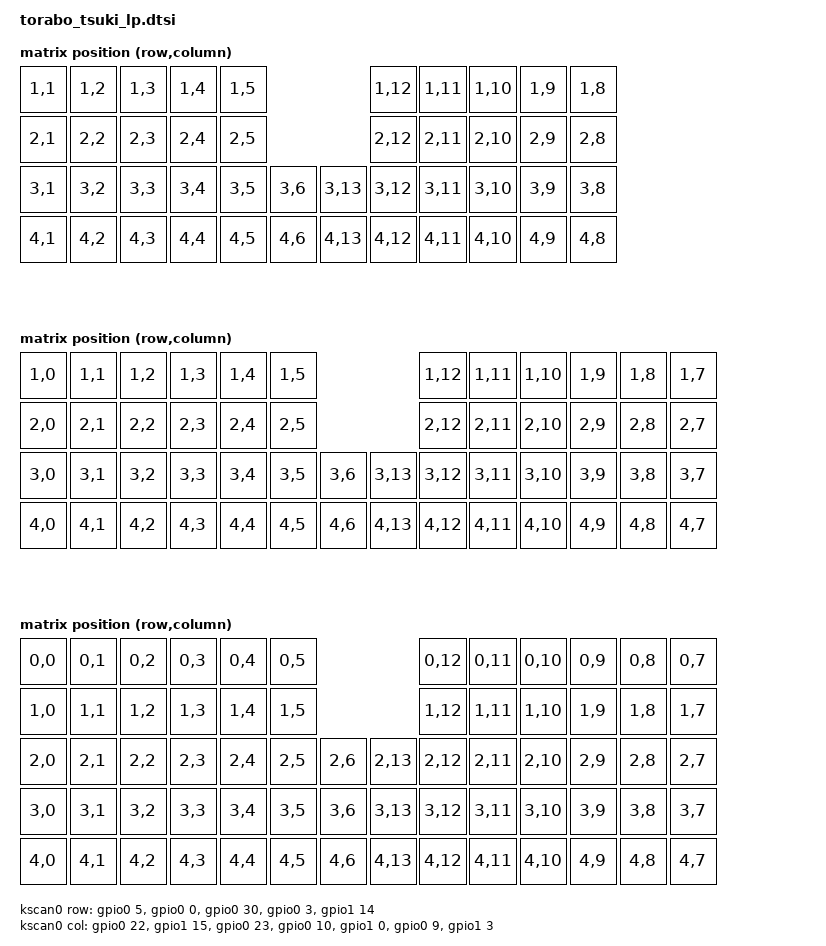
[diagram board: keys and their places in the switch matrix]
#include <zephyr/dt-bindings/gpio/nordic-nrf-gpio.h>
#include <input/processors.dtsi>
#include <dt-bindings/zmk/input_transform.h>
#include <dt-bindings/zmk/matrix_transform.h>
#include "torabo_tsuki_lp_layouts.dtsi"

/ {
    chosen {
        zmk,physical-layout = &physical_layout_l;
        zmk,kscan = &kscan0;
        zmk,battery = &non_lipo_battery;
    };

    size_s_transform: keymap_transform_0 {
        compatible = "zmk,matrix-transform";
        columns = <14>;
        rows = <4>;
        map = <
            RC(1,1) RC(1,2) RC(1,3) RC(1,4) RC(1,5)                  RC(1,12) RC(1,11) RC(1,10) RC(1,9) RC(1,8)
            RC(2,1) RC(2,2) RC(2,3) RC(2,4) RC(2,5)                  RC(2,12) RC(2,11) RC(2,10) RC(2,9) RC(2,8)
            RC(3,1) RC(3,2) RC(3,3) RC(3,4) RC(3,5) RC(3,6) RC(3,13) RC(3,12) RC(3,11) RC(3,10) RC(3,9) RC(3,8)
            RC(4,1) RC(4,2) RC(4,3) RC(4,4) RC(4,5) RC(4,6) RC(4,13) RC(4,12) RC(4,11) RC(4,10) RC(4,9) RC(4,8)
        >;
    };-- Application: /tmp/zmk-config/zmk/app
-- CMake version: 3.31.6
-- Found Python3: /usr/bin/python3 (found suitable version "3.12.3", minimum required is "3.8") found components: Interpreter
-- Cache files will be written to: /tmp/zmk-config/zephyr/.cache
-- Zephyr version: 3.5.0 (/tmp/zmk-config/zephyr)
-- Found west (found suitable version "1.5.0", minimum required is "0.14.0")
-- Adding /__w/zmk-keyboard-torabo-tsuki-lp/zmk-keyboard-torabo-tsuki-lp/boards/shields/torabo_tsuki_lp
-- ZMK Config directory: /tmp/zmk-config/config
-- Using keymap file: /__w/zmk-keyboard-torabo-tsuki-lp/zmk-keyboard-torabo-tsuki-lp/boards/shields/torabo_tsuki_lp/torabo_tsuki_lp.keymap
-- Board: bmp_boost
-- Shield(s): torabo_tsuki_lp_right
-- Snippet(s): studio-rpc-usb-uart split-trackball-listner
-- ZEPHYR_TOOLCHAIN_VARIANT not set, trying to locate Zephyr SDK
-- Found host-tools: zephyr 0.16.9 (/opt/zephyr-sdk-0.16.9)
-- Found toolchain: zephyr 0.16.9 (/opt/zephyr-sdk-0.16.9)
-- Found Dtc: /opt/zephyr-sdk-0.16.9/sysroots/x86_64-pokysdk-linux/usr/bin/dtc (found suitable version "1.6.0", minimum required is "1.4.6")
-- Found BOARD.dts: /tmp/zmk-config/zmk-component-bmp-boost/boards/arm/bmp_boost/bmp_boost.dts
-- Found devicetree overlay: /__w/zmk-keyboard-torabo-tsuki-lp/zmk-keyboard-torabo-tsuki-lp/boards/shields/torabo_tsuki_lp/torabo_tsuki_lp_right.overlay
-- Found devicetree overlay: /__w/zmk-keyboard-torabo-tsuki-lp/zmk-keyboard-torabo-tsuki-lp/boards/shields/torabo_tsuki_lp/torabo_tsuki_lp.keymap
-- Found devicetree overlay: /tmp/zmk-config/zmk/app/snippets/studio-rpc-usb-uart/studio-rpc-usb-uart.overlay
-- Found devicetree overlay: /__w/zmk-keyboard-torabo-tsuki-lp/zmk-keyboard-torabo-tsuki-lp/snippets/split-trackball-listner/split-trackball-listner.overlay
devicetree error: /__w/zmk-keyboard-torabo-tsuki-lp/zmk-keyboard-torabo-tsuki-lp/boards/shields/torabo_tsuki_lp/torabo_tsuki_lp_right.overlay:1 (column 1): parse error: expected '/' or label reference (&foo)
-- In: /tmp/tmp.8oc2Qpuvrd/zephyr, command: /usr/bin/python3;/tmp/zmk-config/zephyr/scripts/dts/gen_defines.py;--dts;/tmp/tmp.8oc2Qpuvrd/zephyr/zephyr.dts.pre;--dtc-flags;'-Wno-unique_unit_address_if_enabled';--bindings-dirs;/tmp/zmk-config/zmk-feature-status-led/dts/bindings;/tmp/zmk-config/zmk-driver-paw3222/dts/bindings;/tmp/zmk-config/zmk-feature-cdc-acm-bootloader-trigger/dts/bindings;/tmp/zmk-config/zmk-feature-non-lipo-battery-management/dts/bindings;/tmp/zmk-config/zmk/app/module/dts/bindings;/tmp/zmk-config/zmk/app/dts/bindings;/tmp/zmk-config/zephyr/dts/bindings;--header-out;/tmp/tmp.8oc2Qpuvrd/zephyr/include/generated/devicetree_generated.h.new;--dts-out;/tmp/tmp.8oc2Qpuvrd/zephyr/zephyr.dts.new;--edt-pickle-out;/tmp/tmp.8oc2Qpuvrd/zephyr/edt.pickle;--vendor-prefixes;/tmp/zmk-config/zmk/app/dts/bindings/vendor-prefixes.txt;--vendor-prefixes;/tmp/zmk-config/zephyr/dts/bindings/vendor-prefixes.txt
CMake Error at /tmp/zmk-config/zephyr/cmake/modules/dts.cmake:279 (message):
  gen_defines.py failed with return code: 1
Call Stack (most recent call first):
  /tmp/zmk-config/zephyr/cmake/modules/zephyr_default.cmake:129 (include)
  /tmp/zmk-config/zephyr/share/zephyr-package/cmake/ZephyrConfig.cmake:66 (include)
  /tmp/zmk-config/zephyr/share/zephyr-package/cmake/ZephyrConfig.cmake:92 (include_boilerplate)
  CMakeLists.txt:9 (find_package)


-- Configuring incomplete, errors occurred!
FATAL ERROR: command exited with status 1: /usr/local/bin/cmake -DWEST_PYTHON=/usr/bin/python3 -B/tmp/tmp.8oc2Qpuvrd -GNinja -DBOARD=bmp_boost -DZMK_CONFIG=/tmp/zmk-config/config -DSHIELD=torabo_tsuki_lp_right -DZMK_EXTRA_MODULES=/__w/zmk-keyboard-torabo-tsuki-lp/zmk-keyboard-torabo-tsuki-lp -DCONFIG_ZMK_SPLIT_ROLE_CENTRAL=y '-DSNIPPET=studio-rpc-usb-uart split-trackball-listner' -S/tmp/zmk-config/zmk/app
Error: Process completed with exit code 1.

    size_m_transform: keymap_transform_1 {
        compatible = "zmk,matrix-transform";
        columns = <14>;
        rows = <4>;
        map = <
            RC(1,0) RC(1,1) RC(1,2) RC(1,3) RC(1,4) RC(1,5)                  RC(1,12) RC(1,11) RC(1,10) RC(1,9) RC(1,8) RC(1,7)
            RC(2,0) RC(2,1) RC(2,2) RC(2,3) RC(2,4) RC(2,5)                  RC(2,12) RC(2,11) RC(2,10) RC(2,9) RC(2,8) RC(2,7)
            RC(3,0) RC(3,1) RC(3,2) RC(3,3) RC(3,4) RC(3,5) RC(3,6) RC(3,13) RC(3,12) RC(3,11) RC(3,10) RC(3,9) RC(3,8) RC(3,7)
            RC(4,0) RC(4,1) RC(4,2) RC(4,3) RC(4,4) RC(4,5) RC(4,6) RC(4,13) RC(4,12) RC(4,11) RC(4,10) RC(4,9) RC(4,8) RC(4,7)
        >;
    };

    size_l_transform: keymap_transform_2 {
        compatible = "zmk,matrix-transform";
        columns = <14>;
        rows = <5>;
        map = <
            RC(0,0) RC(0,1) RC(0,2) RC(0,3) RC(0,4) RC(0,5)                  RC(0,12) RC(0,11) RC(0,10) RC(0,9) RC(0,8) RC(0,7)
            RC(1,0) RC(1,1) RC(1,2) RC(1,3) RC(1,4) RC(1,5)                  RC(1,12) RC(1,11) RC(1,10) RC(1,9) RC(1,8) RC(1,7)
            RC(2,0) RC(2,1) RC(2,2) RC(2,3) RC(2,4) RC(2,5) RC(2,6) RC(2,13) RC(2,12) RC(2,11) RC(2,10) RC(2,9) RC(2,8) RC(2,7)
            RC(3,0) RC(3,1) RC(3,2) RC(3,3) RC(3,4) RC(3,5) RC(3,6) RC(3,13) RC(3,12) RC(3,11) RC(3,10) RC(3,9) RC(3,8) RC(3,7)
            RC(4,0) RC(4,1) RC(4,2) RC(4,3) RC(4,4) RC(4,5) RC(4,6) RC(4,13) RC(4,12) RC(4,11) RC(4,10) RC(4,9) RC(4,8) RC(4,7)
        >;
    };

    kscan0: kscan {
        compatible = "zmk,kscan-gpio-matrix";

        col-gpios
            = <&gpio0 22 (GPIO_ACTIVE_HIGH | GPIO_PULL_DOWN)>,
            <&gpio1 15   (GPIO_ACTIVE_HIGH | GPIO_PULL_DOWN)>,
            <&gpio0 23   (GPIO_ACTIVE_HIGH | GPIO_PULL_DOWN)>,
            <&gpio0 10   (GPIO_ACTIVE_HIGH | GPIO_PULL_DOWN)>,
            <&gpio1 0    (GPIO_ACTIVE_HIGH | GPIO_PULL_DOWN)>,
            <&gpio0 9    (GPIO_ACTIVE_HIGH | GPIO_PULL_DOWN)>,
            <&gpio1 3    (GPIO_ACTIVE_HIGH | GPIO_PULL_DOWN)>
            ;

        row-gpios
            = <&gpio0 5 (GPIO_ACTIVE_HIGH)>,
            <&gpio0 0  (GPIO_ACTIVE_HIGH)>,
            <&gpio0 30 (GPIO_ACTIVE_HIGH)>,
            <&gpio0 3  (GPIO_ACTIVE_HIGH)>,
            <&gpio1 14 (GPIO_ACTIVE_HIGH)>
        ;

        wakeup-source;
    };

    leds {
        compatible = "gpio-leds";
        status_led: status_led {
            gpios = <&bmp 2 GPIO_ACTIVE_HIGH>;
            label = "Status LED";
        };
    };

    status_led_device: status_led_device {
        compatible = "zmk,status-led";
        led = <&status_led>;
    };

    bootloader_trigger: bootloader_trigger {
        compatible = "zmk,cdc-acm-bootloader-trigger";
    };

    trackball_listener: trackball_listener {
        compatible = "zmk,input-listener";
        device = <&trackball>;
    };

    vbatt: vbatt {
        // Disable default battery monitoring
        status = "disabled";
    };
    non_lipo_battery: non_lipo_battery {
        compatible = "zmk,non-lipo-battery";
        io-channels = <&adc 4>; 
    };
};

&physical_layout_s {
    compatible = "zmk,physical-layout";
    display-name = "S Layout";
    kscan = <&kscan0>;
    transform = <&size_s_transform>;
};

&physical_layout_m {
    compatible = "zmk,physical-layout";
    display-name = "M Layout";
    kscan = <&kscan0>;
    transform = <&size_m_transform>;
};

&physical_layout_l {
    compatible = "zmk,physical-layout";
    display-name = "L Layout";
    kscan = <&kscan0>;
    transform = <&size_l_transform>;
};

&zip_temp_layer {
    excluded-positions = <
        18
        19
        20
        24
        38
    >;
};

&pinctrl {
    spi0_default: spi0_default {
        group1 {
            psels = <NRF_PSEL(SPIM_SCK, 0, 18)>,
                <NRF_PSEL(SPIM_MOSI, 0, 16)>,
                <NRF_PSEL(SPIM_MISO, 0, 16)>;
        };
    };

    spi0_sleep: spi0_sleep {
        group1 {
            psels = <NRF_PSEL(SPIM_SCK, 0, 18)>,
                <NRF_PSEL(SPIM_MOSI, 0, 16)>,
                <NRF_PSEL(SPIM_MISO, 0, 16)>;
            low-power-enable;
        };
    };
};

&spi0 {
    status = "okay";
    compatible = "nordic,nrf-spim";
    pinctrl-0 = <&spi0_default>;
    pinctrl-1 = <&spi0_sleep>;
    pinctrl-names = "default", "sleep";
    cs-gpios = <&gpio0 20 GPIO_ACTIVE_LOW>;

    trackball: trackball@0 {
        status = "okay";
        compatible = "pixart,paw3222";
        reg = <0>;
        spi-max-frequency = <2000000>;
        irq-gpios = <&gpio0 19 GPIO_ACTIVE_LOW>;
        power-gpios = <&gpio0 8 (GPIO_ACTIVE_HIGH | NRF_GPIO_DRIVE_H1)>;
    };
};
